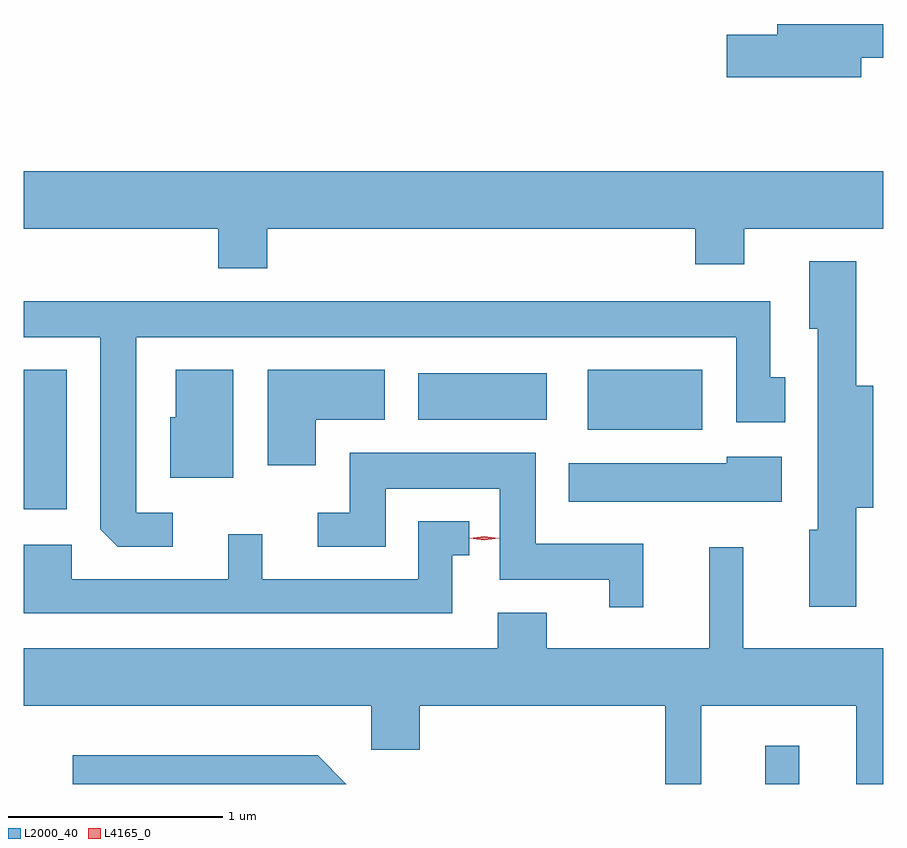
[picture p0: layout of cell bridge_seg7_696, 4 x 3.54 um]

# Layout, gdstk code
import gdstk
lib = gdstk.Library(unit=1e-6, precision=1e-09)
def R(c, l, rs):  # rectangles x0, y0, x1, y1
    for r in rs: c.add(gdstk.rectangle(r[:2], r[2:], *l))
def P(c, l, *ps):  # polygons
    for p in ps: c.add(gdstk.Polygon(p, *l))
L2000_40 = (2000, 40)
L4165_0 = (4165, 0)

bridge_seg7_696 = lib.new_cell('bridge_seg7_696')
R(bridge_seg7_696, L2000_40, [(927.696,1673.991,927.854,1674.168), (924.245,1675.271,924.444,1675.919), (926.871,1675.641,927.404,1675.919), (926.081,1675.686,926.679,1675.904)])
P(bridge_seg7_696, L2000_40, [(928.144,1677.371),(928.245,1677.371),(928.245,1677.529),(927.751,1677.529),(927.751,1677.479),(927.516,1677.479),(927.516,1677.281),(928.144,1677.281)],
  [(925.379,1676.576),(927.371,1676.576),(927.371,1676.411),(927.599,1676.411),(927.599,1676.576),(928.245,1676.576),(928.245,1676.844),(924.245,1676.844),(924.245,1676.576),(925.151,1676.576),(925.151,1676.391),(925.379,1676.391)],
  [(928.119,1675.276),(928.199,1675.276),(928.199,1675.844),(928.119,1675.844),(928.119,1676.424),(927.901,1676.424),(927.901,1676.111),(927.941,1676.111),(927.941,1675.174),(927.901,1675.174),(927.901,1674.816),(928.119,1674.816)],
  [(924.938,1675.254),(924.769,1675.254),(924.769,1676.071),(927.561,1676.071),(927.561,1675.676),(927.789,1675.676),(927.789,1675.884),(927.719,1675.884),(927.719,1676.239),(924.245,1676.239),(924.245,1676.071),(924.601,1676.071),(924.601,1675.177),(924.682,1675.096),(924.938,1675.096)],
  [(925.219,1675.919),(924.951,1675.919),(924.951,1675.699),(924.926,1675.699),(924.926,1675.416),(925.219,1675.416)],
  [(925.604,1675.686),(925.924,1675.686),(925.924,1675.919),(925.381,1675.919),(925.381,1675.476),(925.604,1675.476)],
  [(927.129,1675.109),(926.629,1675.109),(926.629,1675.534),(925.761,1675.534),(925.761,1675.254),(925.613,1675.254),(925.613,1675.096),(925.929,1675.096),(925.929,1675.366),(926.461,1675.366),(926.461,1674.941),(926.971,1674.941),(926.971,1674.813),(927.129,1674.813)],
  [(927.774,1675.514),(927.516,1675.514),(927.516,1675.484),(926.781,1675.484),(926.781,1675.306),(927.774,1675.306)],
  [(926.239,1675.056),(926.318,1675.056),(926.318,1675.214),(926.081,1675.214),(926.081,1674.944),(925.354,1674.944),(925.354,1675.153),(925.196,1675.153),(925.196,1674.944),(924.469,1674.944),(924.469,1675.104),(924.245,1675.104),(924.245,1674.786),(926.239,1674.786)],
  [(927.399,1674.356),(928.121,1674.356),(928.121,1673.991),(928.245,1673.991),(928.245,1674.624),(927.594,1674.624),(927.594,1675.093),(927.436,1675.093),(927.436,1674.624),(926.679,1674.624),(926.679,1674.789),(926.451,1674.789),(926.451,1674.624),(924.245,1674.624),(924.245,1674.356),(925.861,1674.356),(925.861,1674.151),(926.089,1674.151),(926.089,1674.356),(927.231,1674.356),(927.231,1673.991),(927.399,1673.991)],
  [(925.612,1674.124),(924.473,1674.124),(924.473,1673.991),(925.745,1673.991)])
P(bridge_seg7_696, L4165_0, [(926.388,1675.126),(926.319,1675.134),(926.319,1675.135),(926.319,1675.136),(926.388,1675.145),(926.458,1675.136),(926.458,1675.136),(926.458,1675.135)])

lib.write_gds('bridge_seg7_696.gds')
